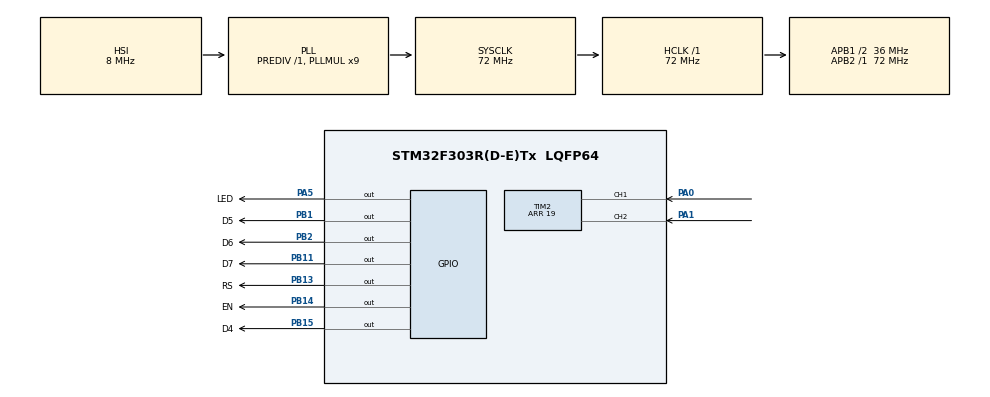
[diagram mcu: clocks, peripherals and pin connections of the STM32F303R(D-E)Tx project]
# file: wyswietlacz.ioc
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Mcu.Family=STM32F3
Mcu.Name=STM32F303R(D-E)Tx
Mcu.Package=LQFP64
NVIC.PriorityGroup=NVIC_PRIORITYGROUP_4
NVIC.TIM2_IRQn=true\:0\:0\:false\:false\:true\:true\:true
PA0.Signal=S_TIM2_CH1_ETR
PA1.Signal=S_TIM2_CH2
PA5.GPIO_Label=LED
PA5.Signal=GPIO_Output
PB1.GPIO_Label=D5
PB1.Signal=GPIO_Output
PB11.GPIO_Label=D7
PB11.Signal=GPIO_Output
PB13.GPIO_Label=RS
PB13.Signal=GPIO_Output
PB14.GPIO_Label=EN
PB14.Signal=GPIO_Output
PB15.GPIO_Label=D4
PB15.Signal=GPIO_Output
PB2.GPIO_Label=D6
PB2.Signal=GPIO_Output
ProjectManager.HeapSize=0x200
ProjectManager.StackSize=0x400
ProjectManager.TargetToolchain=STM32CubeIDE
RCC.AHBFreq_Value=72000000
RCC.APB1CLKDivider=RCC_HCLK_DIV2
RCC.APB1Freq_Value=36000000
RCC.APB1TimFreq_Value=72000000
RCC.APB2Freq_Value=72000000
RCC.APB2TimFreq_Value=72000000
RCC.CortexFreq_Value=72000000
RCC.HCLKFreq_Value=72000000
RCC.HSE_VALUE=8000000
RCC.HSI_VALUE=8000000
RCC.LSE_VALUE=32768
RCC.PLLMUL=RCC_PLL_MUL9
RCC.SYSCLKFreq_VALUE=72000000
RCC.SYSCLKSourceVirtual=RCC_SYSCLKSOURCE_PLLCLK
RCC.USBFreq_Value=72000000
SH.S_TIM2_CH1_ETR.0=TIM2_CH1,Encoder_Interface
SH.S_TIM2_CH2.0=TIM2_CH2,Encoder_Interface
TIM16.Prescaler=71
TIM2.EncoderMode=TIM_ENCODERMODE_TI1
TIM2.Period=19
VP_TIM16_VS_ClockSourceINT.Mode=Enable_Timer
board=custom

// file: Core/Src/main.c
/* USER CODE BEGIN Header */
/**
  ******************************************************************************
  * @file           : main.c
  * @brief          : Main program body
  ******************************************************************************
  * @attention
  *
  * <h2><center>&copy; Copyright (c) 2021 STMicroelectronics.
  * All rights reserved.</center></h2>
  *
  * This software component is licensed by ST under BSD 3-Clause license,
  * the "License"; You may not use this file except in compliance with the
  * License. You may obtain a copy of the License at:
  *                        opensource.org/licenses/BSD-3-Clause
  *
  ******************************************************************************
  */
/* USER CODE END Header */
#include "main.h"

/* USER CODE BEGIN Includes */
#include "LCD1602.h"
#include <stdio.h>
/* USER CODE END Includes */

TIM_HandleTypeDef htim2;
TIM_HandleTypeDef htim16;

void SystemClock_Config(void);
static void MX_GPIO_Init(void);
static void MX_TIM16_Init(void);
static void MX_TIM2_Init(void);

/* USER CODE BEGIN 0 */
uint8_t counter=0;
char msg[64];
void HAL_TIM_IC_CaptureCallback(TIM_HandleTypeDef *htim)
{
	counter= __HAL_TIM_GET_COUNTER(htim);
	if (counter!=10)
			{
		lcd_clear();
			lcd_cursor(0,0);
			sprintf((char*)msg,"Odczyt:%d",counter);
			lcd_send_string(msg);
			}

}
/* USER CODE END 0 */

int main(void)
{
  /* USER CODE BEGIN 1 */
	char msg[64];

  /* USER CODE END 1 */

  /* MCU Configuration--------------------------------------------------------*/

  /* Reset of all peripherals, Initializes the Flash interface and the Systick. */
  HAL_Init();

  /* Configure the system clock */
  SystemClock_Config();

  /* Initialize all configured peripherals */
  MX_GPIO_Init();
  MX_TIM16_Init();
  MX_TIM2_Init();
  /* USER CODE BEGIN 2 */
  HAL_TIM_Encoder_Start_IT(&htim2,TIM_CHANNEL_ALL);
  HAL_TIM_Base_Start(&htim16);
  lcd_Init();
  int xkurwada=0;

  /* USER CODE END 2 */

  /* Infinite loop */
  while (1)
  {

    /* USER CODE BEGIN 3 */
	  if ((counter==10)&&(xkurwada==0))
	  {
		  lcd_clear();
		  lcd_cursor(0,0);
		  lcd_send_string("To srodek jest");
		  xkurwada=1;
	  }

	  else if(counter!=10)
		  {
		  xkurwada=0;
		  }
  }
  /* USER CODE END 3 */
}

void SystemClock_Config(void)
{
  RCC_OscInitTypeDef RCC_OscInitStruct = {0};
  RCC_ClkInitTypeDef RCC_ClkInitStruct = {0};
  RCC_PeriphCLKInitTypeDef PeriphClkInit = {0};

  /** Initializes the RCC Oscillators according to the specified parameters
  * in the RCC_OscInitTypeDef structure.
  */
  RCC_OscInitStruct.OscillatorType = RCC_OSCILLATORTYPE_HSI;
  RCC_OscInitStruct.HSIState = RCC_HSI_ON;
  RCC_OscInitStruct.HSICalibrationValue = RCC_HSICALIBRATION_DEFAULT;
  RCC_OscInitStruct.PLL.PLLState = RCC_PLL_ON;
  RCC_OscInitStruct.PLL.PLLSource = RCC_PLLSOURCE_HSI;
  RCC_OscInitStruct.PLL.PLLMUL = RCC_PLL_MUL9;
  RCC_OscInitStruct.PLL.PREDIV = RCC_PREDIV_DIV1;
  if (HAL_RCC_OscConfig(&RCC_OscInitStruct) != HAL_OK)
  {
    Error_Handler();
  }
  /** Initializes the CPU, AHB and APB buses clocks
  */
  RCC_ClkInitStruct.ClockType = RCC_CLOCKTYPE_HCLK|RCC_CLOCKTYPE_SYSCLK
                              |RCC_CLOCKTYPE_PCLK1|RCC_CLOCKTYPE_PCLK2;
  RCC_ClkInitStruct.SYSCLKSource = RCC_SYSCLKSOURCE_PLLCLK;
  RCC_ClkInitStruct.AHBCLKDivider = RCC_SYSCLK_DIV1;
  RCC_ClkInitStruct.APB1CLKDivider = RCC_HCLK_DIV2;
  RCC_ClkInitStruct.APB2CLKDivider = RCC_HCLK_DIV1;

  if (HAL_RCC_ClockConfig(&RCC_ClkInitStruct, FLASH_LATENCY_2) != HAL_OK)
  {
    Error_Handler();
  }
  PeriphClkInit.PeriphClockSelection = RCC_PERIPHCLK_TIM16|RCC_PERIPHCLK_TIM2;
  PeriphClkInit.Tim16ClockSelection = RCC_TIM16CLK_HCLK;
  PeriphClkInit.Tim2ClockSelection = RCC_TIM2CLK_HCLK;
  if (HAL_RCCEx_PeriphCLKConfig(&PeriphClkInit) != HAL_OK)
  {
    Error_Handler();
  }
}

static void MX_TIM2_Init(void)
{

  TIM_Encoder_InitTypeDef sConfig = {0};
  TIM_MasterConfigTypeDef sMasterConfig = {0};

  htim2.Instance = TIM2;
  htim2.Init.Prescaler = 0;
  htim2.Init.CounterMode = TIM_COUNTERMODE_UP;
  htim2.Init.Period = 19;
  htim2.Init.ClockDivision = TIM_CLOCKDIVISION_DIV1;
  htim2.Init.AutoReloadPreload = TIM_AUTORELOAD_PRELOAD_DISABLE;
  sConfig.EncoderMode = TIM_ENCODERMODE_TI1;
  sConfig.IC1Polarity = TIM_ICPOLARITY_RISING;
  sConfig.IC1Selection = TIM_ICSELECTION_DIRECTTI;
  sConfig.IC1Prescaler = TIM_ICPSC_DIV1;
  sConfig.IC1Filter = 0;
  sConfig.IC2Polarity = TIM_ICPOLARITY_RISING;
  sConfig.IC2Selection = TIM_ICSELECTION_DIRECTTI;
  sConfig.IC2Prescaler = TIM_ICPSC_DIV1;
  sConfig.IC2Filter = 0;
  if (HAL_TIM_Encoder_Init(&htim2, &sConfig) != HAL_OK)
  {
    Error_Handler();
  }
  sMasterConfig.MasterOutputTrigger = TIM_TRGO_RESET;
  sMasterConfig.MasterSlaveMode = TIM_MASTERSLAVEMODE_DISABLE;
  if (HAL_TIMEx_MasterConfigSynchronization(&htim2, &sMasterConfig) != HAL_OK)
  {
    Error_Handler();
  }

}

static void MX_TIM16_Init(void)
{

  htim16.Instance = TIM16;
  htim16.Init.Prescaler = 71;
  htim16.Init.CounterMode = TIM_COUNTERMODE_UP;
  htim16.Init.Period = 65535;
  htim16.Init.ClockDivision = TIM_CLOCKDIVISION_DIV1;
  htim16.Init.RepetitionCounter = 0;
  htim16.Init.AutoReloadPreload = TIM_AUTORELOAD_PRELOAD_DISABLE;
  if (HAL_TIM_Base_Init(&htim16) != HAL_OK)
  {
    Error_Handler();
  }

}

static void MX_GPIO_Init(void)
{
  GPIO_InitTypeDef GPIO_InitStruct = {0};

  /* GPIO Ports Clock Enable */
  __HAL_RCC_GPIOA_CLK_ENABLE();
  __HAL_RCC_GPIOB_CLK_ENABLE();

  /*Configure GPIO pin Output Level */
  HAL_GPIO_WritePin(LED_GPIO_Port, LED_Pin, GPIO_PIN_RESET);

  /*Configure GPIO pin Output Level */
  HAL_GPIO_WritePin(GPIOB, D5_Pin|D6_Pin|D7_Pin|RS_Pin
                          |EN_Pin|D4_Pin, GPIO_PIN_RESET);

  /*Configure GPIO pin : LED_Pin */
  GPIO_InitStruct.Pin = LED_Pin;
  GPIO_InitStruct.Mode = GPIO_MODE_OUTPUT_PP;
  GPIO_InitStruct.Pull = GPIO_NOPULL;
  GPIO_InitStruct.Speed = GPIO_SPEED_FREQ_LOW;
  HAL_GPIO_Init(LED_GPIO_Port, &GPIO_InitStruct);

  /*Configure GPIO pins : D5_Pin D6_Pin D7_Pin RS_Pin
                           EN_Pin D4_Pin */
  GPIO_InitStruct.Pin = D5_Pin|D6_Pin|D7_Pin|RS_Pin
                          |EN_Pin|D4_Pin;
  GPIO_InitStruct.Mode = GPIO_MODE_OUTPUT_PP;
  GPIO_InitStruct.Pull = GPIO_NOPULL;
  GPIO_InitStruct.Speed = GPIO_SPEED_FREQ_LOW;
  HAL_GPIO_Init(GPIOB, &GPIO_InitStruct);

}

void Error_Handler(void)
{
  __disable_irq();
  while (1)
  {
  }
}

/************************ (C) COPYRIGHT STMicroelectronics *****END OF FILE****/
